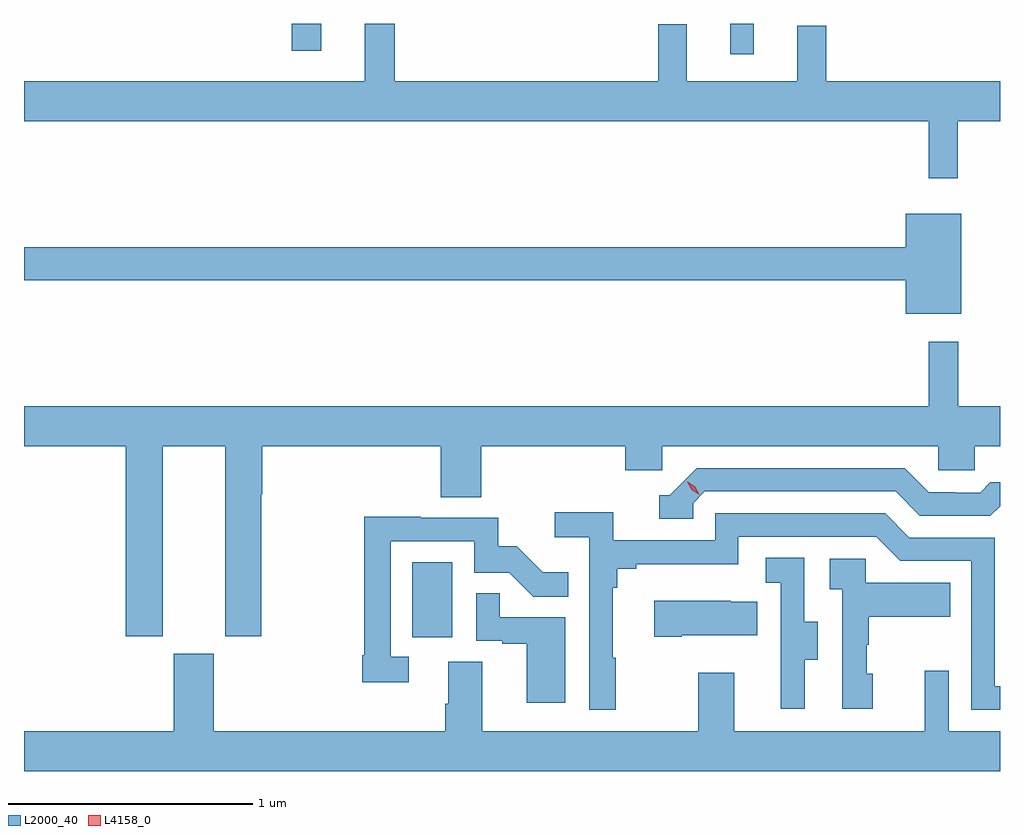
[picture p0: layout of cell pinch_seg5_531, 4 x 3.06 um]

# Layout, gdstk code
import gdstk
lib = gdstk.Library(unit=1e-6, precision=1e-09)
def R(c, l, rs):  # rectangles x0, y0, x1, y1
    for r in rs: c.add(gdstk.rectangle(r[:2], r[2:], *l))
def P(c, l, *ps):  # polygons
    for p in ps: c.add(gdstk.Polygon(p, *l))
L2000_40 = (2000, 40)
L4158_0 = (4158, 0)

pinch_seg5_531 = lib.new_cell('pinch_seg5_531')
R(pinch_seg5_531, L2000_40, [(994.046,849.318,994.21,849.625), (995.348,851.706,995.445,851.832), (993.552,851.721,993.673,851.832)])
P(pinch_seg5_531, L2000_40, [(996.281,851.432),(996.454,851.432),(996.454,851.596),(995.741,851.596),(995.741,851.824),(995.624,851.824),(995.624,851.596),(995.171,851.596),(995.171,851.83),(995.053,851.83),(995.053,851.596),(993.973,851.596),(993.973,851.832),(993.851,851.832),(993.851,851.596),(992.454,851.596),(992.454,851.432),(996.163,851.432),(996.163,851.199),(996.281,851.199)],
  [(996.295,851.053),(996.068,851.053),(996.068,850.916),(992.454,850.916),(992.454,850.78),(996.068,850.78),(996.068,850.643),(996.295,850.643)],
  [(993.022,850.1),(993.278,850.1),(993.278,849.321),(993.426,849.321),(993.426,849.904),(993.431,849.904),(993.431,850.1),(994.163,850.1),(994.163,849.892),(994.328,849.892),(994.328,850.1),(994.919,850.1),(994.919,850.002),(995.07,850.002),(995.07,850.1),(996.201,850.1),(996.201,850.002),(996.351,850.002),(996.351,850.1),(996.454,850.1),(996.454,850.264),(996.282,850.264),(996.282,850.528),(996.163,850.528),(996.163,850.264),(992.454,850.264),(992.454,850.1),(992.87,850.1),(992.87,849.321),(993.022,849.321)],
  [(995.196,849.867),(995.244,849.915),(996.027,849.915),(996.126,849.816),(996.415,849.816),(996.454,849.855),(996.454,849.952),(996.415,849.952),(996.373,849.909),(996.27,849.909),(996.27,849.912),(996.163,849.912),(996.064,850.011),(995.211,850.011),(995.1,849.9),(995.057,849.9),(995.057,849.804),(995.196,849.804)],
  [(994.879,849.233),(994.867,849.233),(994.867,849.521),(994.886,849.521),(994.886,849.598),(994.963,849.598),(994.963,849.617),(995.382,849.617),(995.382,849.729),(995.946,849.729),(996.045,849.63),(996.336,849.63),(996.336,849.021),(996.454,849.021),(996.454,849.117),(996.432,849.117),(996.432,849.726),(996.082,849.726),(995.983,849.825),(995.286,849.825),(995.286,849.714),(994.868,849.714),(994.868,849.83),(994.629,849.83),(994.629,849.728),(994.77,849.728),(994.77,849.021),(994.879,849.021)],
  [(994.03,849.237),(993.957,849.237),(993.957,849.711),(994.299,849.711),(994.299,849.582),(994.443,849.582),(994.541,849.484),(994.685,849.484),(994.685,849.583),(994.581,849.583),(994.474,849.69),(994.398,849.69),(994.398,849.807),(994.079,849.807),(994.079,849.812),(993.849,849.812),(993.849,849.244),(993.841,849.244),(993.841,849.132),(994.03,849.132)],
  [(995.653,849.226),(995.707,849.226),(995.707,849.381),(995.652,849.381),(995.652,849.644),(995.493,849.644),(995.493,849.541),(995.556,849.541),(995.556,849.237),(995.555,849.237),(995.555,849.024),(995.653,849.024)],
  [(995.932,849.168),(995.907,849.168),(995.907,849.287),(995.917,849.287),(995.917,849.401),(996.251,849.401),(996.251,849.541),(995.904,849.541),(995.904,849.639),(995.757,849.639),(995.757,849.515),(995.808,849.515),(995.808,849.024),(995.932,849.024)],
  [(994.672,849.399),(994.403,849.399),(994.403,849.497),(994.308,849.497),(994.308,849.303),(994.415,849.303),(994.415,849.291),(994.514,849.291),(994.514,849.048),(994.672,849.048)],
  [(995.149,849.326),(995.459,849.326),(995.459,849.463),(995.351,849.463),(995.351,849.466),(995.037,849.466),(995.037,849.319),(995.149,849.319)],
  [(996.454,848.932),(996.243,848.932),(996.243,849.181),(996.146,849.181),(996.146,848.932),(995.365,848.932),(995.365,849.172),(995.218,849.172),(995.218,848.932),(994.333,848.932),(994.333,849.218),(994.193,849.218),(994.193,849.044),(994.181,849.044),(994.181,848.932),(993.232,848.932),(993.232,849.249),(993.068,849.249),(993.068,848.932),(992.454,848.932),(992.454,848.768),(996.454,848.768)])
P(pinch_seg5_531, L4158_0, [(995.221,849.902),(995.19,849.921),(995.173,849.954),(995.173,849.954),(995.174,849.954),(995.205,849.934),(995.221,849.902),(995.221,849.902)])

lib.write_gds('pinch_seg5_531.gds')
